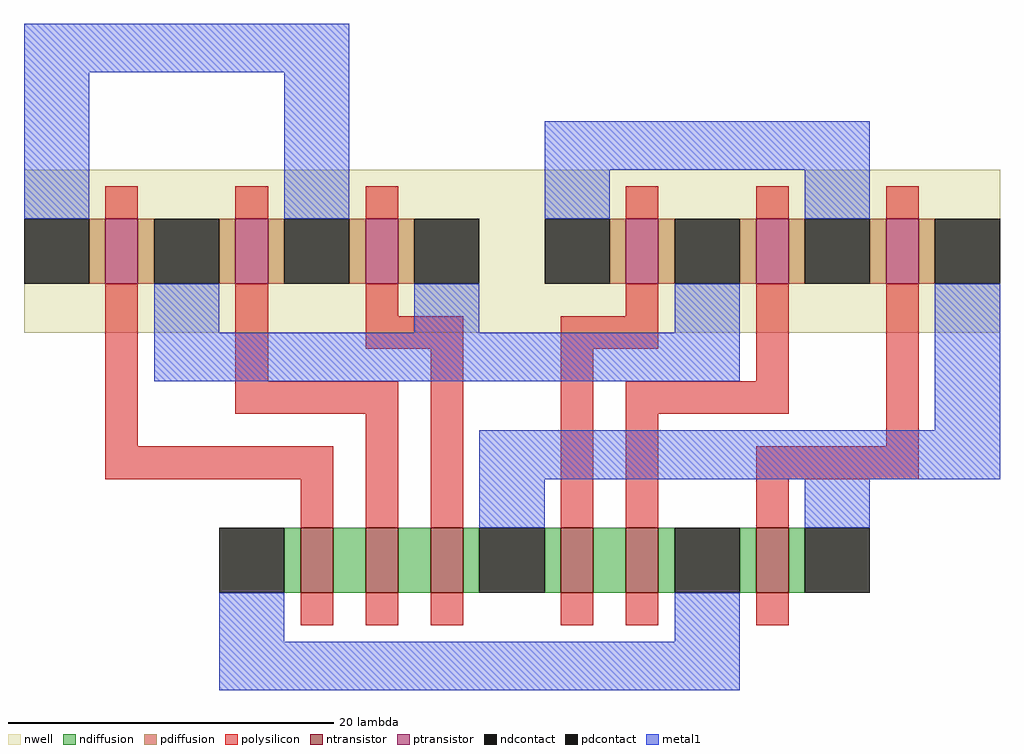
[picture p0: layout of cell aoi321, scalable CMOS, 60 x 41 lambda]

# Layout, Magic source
magic
tech scmos
<< nwell >>
rect -17 18 43 28
<< polysilicon >>
rect -12 25 -10 27
rect -4 25 -2 27
rect 4 25 6 27
rect 20 25 22 27
rect 28 25 30 27
rect 36 25 38 27
rect -12 11 -10 21
rect -4 15 -2 21
rect 4 19 6 21
rect 20 19 22 21
rect 4 17 10 19
rect -4 13 6 15
rect -12 9 2 11
rect 0 6 2 9
rect 4 6 6 13
rect 8 6 10 17
rect 16 17 22 19
rect 16 6 18 17
rect 28 15 30 21
rect 20 13 30 15
rect 20 6 22 13
rect 36 11 38 21
rect 28 9 38 11
rect 28 6 30 9
rect 0 0 2 2
rect 4 0 6 2
rect 8 0 10 2
rect 16 0 18 2
rect 20 0 22 2
rect 28 0 30 2
<< ndiffusion >>
rect -1 2 0 6
rect 2 2 4 6
rect 6 2 8 6
rect 10 2 11 6
rect 15 2 16 6
rect 18 2 20 6
rect 22 2 23 6
rect 27 2 28 6
rect 30 2 31 6
<< pdiffusion >>
rect -13 21 -12 25
rect -10 21 -9 25
rect -5 21 -4 25
rect -2 21 -1 25
rect 3 21 4 25
rect 6 21 7 25
rect 19 21 20 25
rect 22 21 23 25
rect 27 21 28 25
rect 30 21 31 25
rect 35 21 36 25
rect 38 21 39 25
<< metal1 >>
rect -17 34 3 37
rect -17 25 -13 34
rect -1 25 3 34
rect 15 28 35 31
rect 15 25 19 28
rect 31 25 35 28
rect -9 18 -5 21
rect 7 18 11 21
rect 23 18 27 21
rect -9 15 27 18
rect 39 12 43 21
rect 11 9 43 12
rect 11 6 15 9
rect 31 6 35 9
rect -5 -1 -1 2
rect 23 -1 27 2
rect -5 -4 27 -1
<< ntransistor >>
rect 0 2 2 6
rect 4 2 6 6
rect 8 2 10 6
rect 16 2 18 6
rect 20 2 22 6
rect 28 2 30 6
<< ptransistor >>
rect -12 21 -10 25
rect -4 21 -2 25
rect 4 21 6 25
rect 20 21 22 25
rect 28 21 30 25
rect 36 21 38 25
<< ndcontact >>
rect -5 2 -1 6
rect 11 2 15 6
rect 23 2 27 6
rect 31 2 35 6
<< pdcontact >>
rect -17 21 -13 25
rect -9 21 -5 25
rect -1 21 3 25
rect 7 21 11 25
rect 15 21 19 25
rect 23 21 27 25
rect 31 21 35 25
rect 39 21 43 25
<< end >>
